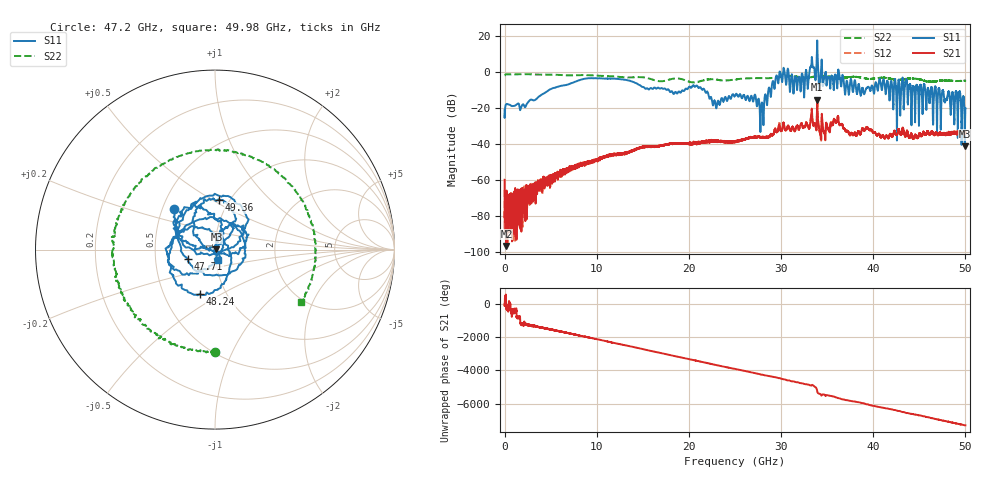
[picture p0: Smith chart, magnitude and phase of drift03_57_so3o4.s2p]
!Created with skrf (http://scikit-rf.org).
# Hz S RI R 50.0
!freq ReS11 ImS11 ReS21 ImS21 ReS12 ImS12 ReS22 ImS22
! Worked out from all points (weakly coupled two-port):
!   10001 points, 300 kHz to 50 GHz, reference 50 ohm
!   highest |S21| = -15.46 dB at 33.92 GHz (marker M1); lowest = -96.6 dB at 200.3 MHz (marker M2)
!   lowest |S11| = -41.5 dB at 49.94 GHz (marker M3), VSWR 1.02, Z = 50.8 + j0.257 ohm
!   |S11| at or under -10 dB: start of sweep to 4.849 GHz; 21.69 GHz to 28.62 GHz (6.935 GHz wide, 27.6 % of centre); 47.2 GHz to end of sweep (the widest 3 of 42)
!   |S22| runs from -5.9 to -1.3 dB; largest |S21 - S12| = 0.018
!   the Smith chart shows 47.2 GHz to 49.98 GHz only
!   S11 on the Smith chart (normalised r, x): 47.2 GHz: 0.58, +0.29; 47.71 GHz: 0.74, -0.08; 48.24 GHz: 0.75, -0.40; 49.36 GHz: 0.90, +0.54; 49.98 GHz: 1.02, -0.12
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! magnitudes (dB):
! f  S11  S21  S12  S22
! 300 kHz  -21.2  -60.0  -65.8  -2.1
! 200.3 MHz  -17.9  -96.6  -78.2  -1.4
! 8.335 GHz  -4.3  -50.9  -51.5  -1.9
! 16.67 GHz  -8.8  -41.3  -41.4  -5.2
! 21.01 GHz  -8.7  -39.1  -39.4  -5.5
! 22.81 GHz  -16.1  -38.5  -38.7  -4.3
! 25 GHz  -13.4  -38.9  -38.9  -4.3
! 27.02 GHz  -15.7  -36.2  -36.4  -3.5
! 27.91 GHz  -17.1  -36.3  -36.2  -3.5
! 29.69 GHz  -6.4  -32.1  -31.7  -3.1
! 32.32 GHz  -1.5  -30.5  -30.7  -3.2
! 33.34 GHz  8.0  -20.5  -20.8  -2.9
! 33.92 GHz  17.4  -15.5  -15.8  -2.5
! 38.82 GHz  -9.0  -31.4  -31.8  -3.4
! 41.67 GHz  -9.0  -36.7  -36.5  -3.7
! 47.2 GHz  -9.9  -34.8  -34.6  -4.9
! 47.71 GHz  -16.0  -33.9  -34.4  -4.8
! 48.24 GHz  -11.7  -33.6  -34.4  -4.9
! 49.36 GHz  -11.1  -33.6  -33.9  -5.1
! 49.94 GHz  -41.5  -33.8  -34.1  -5.0
! 49.98 GHz  -24.4  -34.6  -33.9  -5.0
! 50 GHz  -20.1  -34.0  -34.1  -4.9
